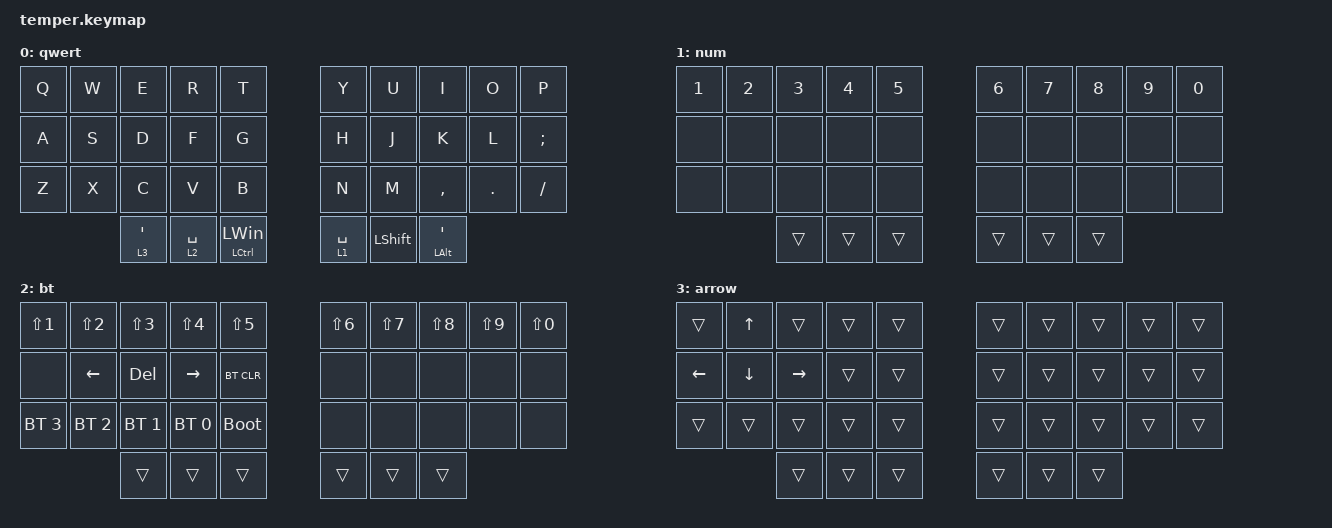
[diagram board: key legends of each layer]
/*
 * Copyright (c) 2020 The ZMK Contributors
 *
 * SPDX-License-Identifier: MIT
 */

#include <behaviors.dtsi>
#include <dt-bindings/zmk/bt.h>
#include <dt-bindings/zmk/keys.h>

#define DEFAULT 0
#define QWERTY 1
#define NUM 2
#define NAV 3
#define FUN 4

/ {
    conditional_layers {
        compatible = "zmk,conditional-layers";

        tri_layer {
            if-layers = <1 2>;
            then-layer = <3>;
        };
    };

    behaviors {
        bspc_del: backspace_delete {
            compatible = "zmk,behavior-mod-morph";
            #binding-cells = <0>;
            bindings = <&kp BACKSPACE>, <&kp DELETE>;

            mods = <(MOD_LSFT|MOD_RSFT)>;
            keep-mods = <(MOD_RSFT)>;
        };

        super_bspc: super_backspace {
            compatible = "zmk,behavior-mod-morph";
            #binding-cells = <0>;
            bindings = <&kp BACKSPACE>, <&kp LA(BACKSPACE)>;

            mods = <(MOD_LSFT|MOD_RSFT)>;
        };

        smart_shft: smart_shift {
            compatible = "zmk,behavior-mod-morph";
            #binding-cells = <0>;
            bindings = <&kp LSHFT>, <&caps_word>;

            mods = <(MOD_LSFT)>;
        };

        comma_semi: comma_semi {
            compatible = "zmk,behavior-mod-morph";
            #binding-cells = <0>;
            bindings = <&kp COMMA>, <&kp SEMI>;

            mods = <(MOD_LSFT)>;
        };

        dot_colon: dot_colon {
            compatible = "zmk,behavior-mod-morph";
            #binding-cells = <0>;
            bindings = <&kp DOT>, <&kp COLON>;

            mods = <(MOD_LSFT)>;
        };

        qmrk_excl: qmrk_excl {
            compatible = "zmk,behavior-mod-morph";
            #binding-cells = <0>;
            bindings = <&kp QMARK>, <&kp EXCL>;

            mods = <(MOD_LSFT)>;
        };

        slh_morph: slh_morph {
            compatible = "zmk,behavior-mod-morph";
            #binding-cells = <0>;
            bindings = <&kp FSLH>, <&kp BSLH>;

            mods = <(MOD_LSFT)>;
        };

        amps_morph: amps_morph {
            compatible = "zmk,behavior-mod-morph";
            #binding-cells = <0>;
            bindings = <&kp AMPS>, <&kp PIPE>;

            mods = <(MOD_LSFT)>;
        };
    };

    combos {
        compatible = "zmk,combos";

        a {
            bindings = <&kp ESCAPE>;
            key-positions = <1 0>;
        };

        b {
            bindings = <&kp CAPS>;
            key-positions = <11 10>;
        };

        c {
            bindings = <&kp TAB>;
            key-positions = <21 20>;
        };

        d {
            bindings = <&kp BACKSPACE>;
            key-positions = <9 8>;
        };

        e {
            bindings = <&kp ENTER>;
            key-positions = <18 19>;
        };

        f {
            bindings = <&kp MINUS>;
            key-positions = <16 17>;
        };

        g {
            bindings = <&kp EQUAL>;
            key-positions = <17 18>;
        };
    };

    keymap {
        compatible = "zmk,keymap";

        qwert {
            bindings = <
  &kp Q  &kp W  &kp E      &kp R        &kp T                 &kp Y        &kp U           &kp I             &kp O    &kp P
  &kp A  &kp S  &kp D      &kp F        &kp G                 &kp H        &kp J           &kp K             &kp L    &kp SEMI
  &kp Z  &kp X  &kp C      &kp V        &kp B                 &kp N        &kp M           &kp COMMA         &kp DOT  &kp FSLH
                &lt 3 SQT  &lt 2 SPACE  &mt LCTRL LEFT_WIN    &lt 1 SPACE  &kp LEFT_SHIFT  &mt LEFT_ALT SQT
            >;
        };

        num {
            bindings = <
  &kp N1  &kp N2  &kp N3  &kp N4  &kp N5    &kp N6  &kp N7  &kp N8  &kp N9  &kp N0
  &none   &none   &none   &none   &none     &none   &none   &none   &none   &none
  &none   &none   &none   &none   &none     &none   &none   &none   &none   &none
                  &trans  &trans  &trans    &trans  &trans  &trans
            >;
        };

        bt {
            bindings = <
  &kp LS(N1)    &kp LS(N2)    &kp LS(N3)    &kp LS(N4)    &kp LS(N5)     &kp LS(N6)  &kp LS(N7)  &kp LS(N8)  &kp LS(N9)  &kp LS(N0)
  &none         &kp LEFT      &kp DEL       &kp RIGHT     &bt BT_CLR     &none       &none       &none       &none       &none
  &bt BT_SEL 3  &bt BT_SEL 2  &bt BT_SEL 1  &bt BT_SEL 0  &bootloader    &none       &none       &none       &none       &none
                              &trans        &trans        &trans         &trans      &trans      &trans
            >;
        };

        arrow {
            bindings = <
  &trans          &kp UP_ARROW    &trans     &trans  &trans    &trans  &trans  &trans  &trans  &trans
  &kp LEFT_ARROW  &kp DOWN_ARROW  &kp RIGHT  &trans  &trans    &trans  &trans  &trans  &trans  &trans
  &trans          &trans          &trans     &trans  &trans    &trans  &trans  &trans  &trans  &trans
                                  &trans     &trans  &trans    &trans  &trans  &trans
            >;
        };
    };
};
